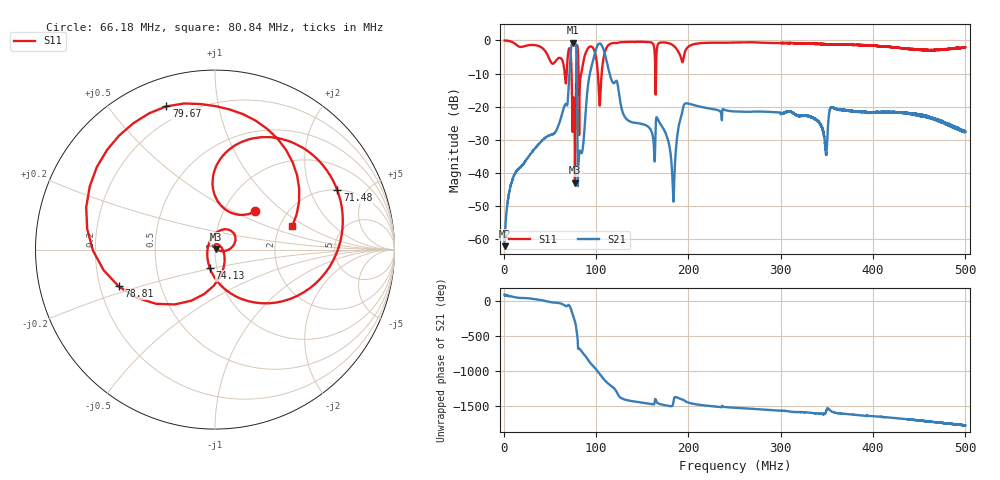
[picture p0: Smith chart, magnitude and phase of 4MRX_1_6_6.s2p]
! NanoVNA-App
! Date: 2026-08-19 14:46:18
! Start: 1MHz Stop: 500MHz Points: 6401
! S-Parameter data: F S11 S21 S12 S22
# Hz S RI R 50
!  Frequency  S11_Real  S11_Imag  S21_Real  S21_Imag  S12_Real  S12_Imag  S22_Real  S22_Imag
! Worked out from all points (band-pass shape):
!   6401 points, 1 MHz to 500 MHz, reference 50 ohm
!   highest |S21| = -0.67 dB at 74.76 MHz (marker M1); lowest = -62.0 dB at 1 MHz (marker M2)
!   |S21| within 3 dB of the highest: 72.63 MHz to 78.69 MHz (6.054 MHz wide, 8 % of centre); 98.95 MHz to 109.1 MHz (10.2 MHz wide, 9.8 % of centre)
!   lowest |S11| = -42.9 dB at 77.18 MHz (marker M3), VSWR 1.01, Z = 50.6 + j0.353 ohm
!   |S11| at or under -10 dB: 73.5 MHz to 78.5 MHz (5.001 MHz wide, 6.58 % of centre); 81.07 MHz to 83.87 MHz (2.805 MHz wide, 3.4 % of centre); 102 MHz to 106.1 MHz (4.149 MHz wide, 3.99 % of centre)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
!   S12 and S22 are empty: the file has one direction only
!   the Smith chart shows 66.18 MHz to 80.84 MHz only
!   S11 on the Smith chart (normalised r, x): 66.18 MHz: 1.39, +0.66; 71.48 MHz: 2.01, +3.14; 74.13 MHz: 0.92, -0.19; 78.81 MHz: 0.28, -0.17; 79.67 MHz: 0.13, +0.71; 80.84 MHz: 2.34, +0.77
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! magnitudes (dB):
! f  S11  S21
! 1 MHz  0.0  -62.0
! 11.76 MHz  -0.9  -40.4
! 66.18 MHz  -10.2  -19.5
! 71.48 MHz  -2.4  -8.4
! 74.13 MHz  -19.5  -0.8
! 74.76 MHz  -23.4  -0.7
! 77.18 MHz  -42.9  -0.8
! 78.81 MHz  -4.8  -5.0
! 79.67 MHz  -1.5  -19.5
! 80.84 MHz  -6.9  -37.9
! 84.19 MHz  -9.6  -34.0
! 95.19 MHz  -1.9  -7.8
! 103.5 MHz  -17.8  -0.9
! 132.3 MHz  -0.5  -23.5
! 167.4 MHz  -1.0  -24.0
! 183.5 MHz  -1.5  -47.2
! 196.7 MHz  -3.1  -19.0
! 250.5 MHz  -0.6  -21.4
! 333.7 MHz  -1.0  -23.2
! 348.4 MHz  -1.2  -32.3
! 416.9 MHz  -2.0  -21.6
! 500 MHz  -2.0  -27.5
